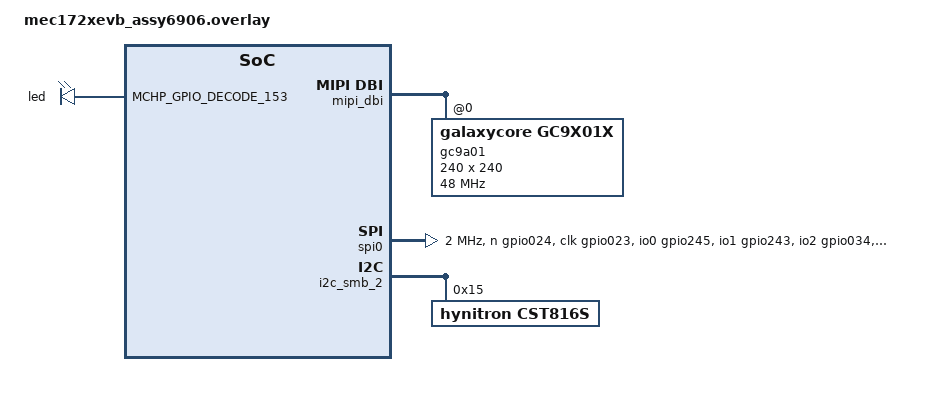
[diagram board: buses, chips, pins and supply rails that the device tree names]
#include <zephyr/dt-bindings/display/panel.h>

/ {

    /* VCC J32 Pin 1 */
    /* GND J32 Pin 6 */

    chosen {
        zephyr,display = &gc9a01;
        zephyr,touch = &cst816s;
    };

    mipi_dbi {
        compatible = "zephyr,mipi-dbi-spi";
        status = "okay";
        spi-dev = <&spi0>;
        dc-gpios = <MCHP_GPIO_DECODE_132 GPIO_ACTIVE_HIGH>; /* GPIO_132, J18 Pin 3 */
        reset-gpios = <MCHP_GPIO_DECODE_140 GPIO_ACTIVE_LOW>; /* GPIO_140, J18 Pin 1 */
        #address-cells = <1>;
        #size-cells = <0>;
        write-only;

        gc9a01: gc9a01@0 {
            /* GPSPI CLK J31 Pin 4 */
            /* GPSPI MOSI J31 Pin 6 */
            /* GPSPI MISO J31 Pin 8 */
            /* GPSPI CS J31 Pin 2 */
            compatible = "galaxycore,gc9x01x";
            reg = <0>;
//            mipi-max-frequency = <DT_FREQ_M(2)>;
            mipi-max-frequency = <DT_FREQ_M(48)>;
            pixel-format = <PANEL_PIXEL_FORMAT_RGB_565>;
            width = <240>;
            height = <240>;
            display-inversion;
//            mipi-cpol;
//            mipi-cpha;
        };
    };

    lvgl_pointer {
        compatible = "zephyr,lvgl-pointer-input";
        status = "okay";
        input = <&cst816s>;
    };

    lcd_backlight {
        compatible = "gpio-leds";
        status = "okay";

        led: led {
            gpios = <MCHP_GPIO_DECODE_153 GPIO_ACTIVE_HIGH>;
        };
    };
};

&pinctrl {

	gpspi_cs_n_gpio024: gpspi_cs_n_gpio024 {
		pinmux = < MCHP_XEC_PINMUX(024, MCHP_AF1) >;
	};

	gpspi_clk_gpio023: gpspi_clk_gpio023 {
		pinmux = < MCHP_XEC_PINMUX(023, MCHP_AF1) >;
	};

	gpspi_io0_gpio245: gpspi_io0_gpio245 {
		pinmux = < MCHP_XEC_PINMUX(0245, MCHP_AF1) >;
	};

	gpspi_io1_gpio243: gpspi_io1_gpio243 {
		pinmux = < MCHP_XEC_PINMUX(0243, MCHP_AF1) >;
	};

	gpspi_io2_gpio034: gpspi_io2_gpio034 {
		pinmux = < MCHP_XEC_PINMUX(034, MCHP_AF1) >;
	};

	gpspi_io3_gpio022: gpspi_io3_gpio022 {
		pinmux = < MCHP_XEC_PINMUX(022, MCHP_AF1) >;
	};

};

&spi0 {
    lines = <1>;
    clock-frequency = <2000000>;
    pinctrl-0 = < &gpspi_cs_n_gpio024
    &gpspi_clk_gpio023
    &gpspi_io0_gpio245
    &gpspi_io1_gpio243
    &gpspi_io2_gpio034
    &gpspi_io3_gpio022 >;

};

&i2c_smb_2 {
    status = "okay";
    /* I2C7 SDA, J19 Pin 3 */
    /* I2C7 SCL, J19 Pin 1 */
    cst816s: cst816s@15 {
        compatible = "hynitron,cst816s";
        status = "okay";
        reg = <0x15>;
        irq-gpios = <MCHP_GPIO_DECODE_156 GPIO_ACTIVE_LOW>; /* GPIO_156, JP71 Pin 11 */
        rst-gpios = <MCHP_GPIO_DECODE_157 GPIO_ACTIVE_LOW>; /* GPIO_157, JP71 Pin 13 */
    };
};
